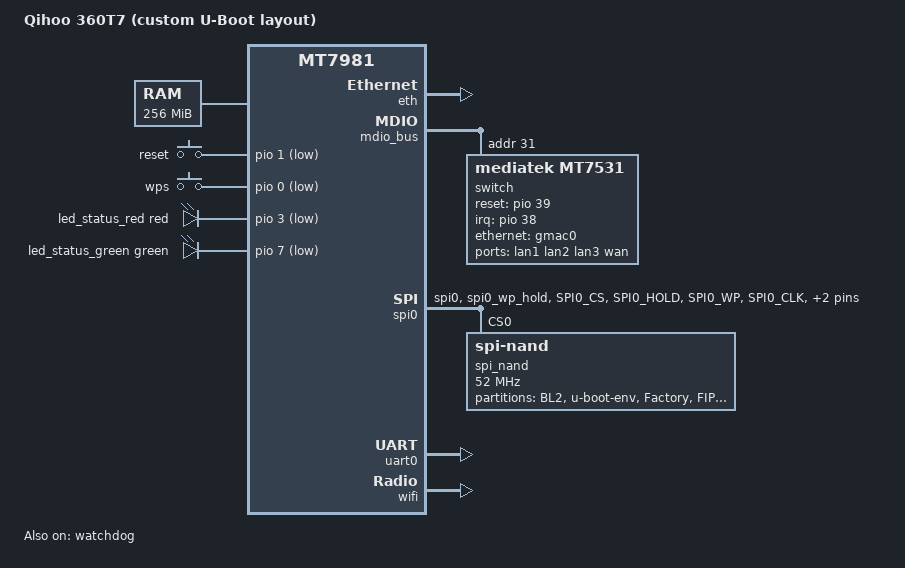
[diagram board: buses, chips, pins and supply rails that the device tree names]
// SPDX-License-Identifier: GPL-2.0-or-later OR MIT
/*
 * Qihoo 360T7 (custom U-Boot layout)
 *
 * openwrt-25.12 port of the 24.10 ubootmod DTS (itself ported from the
 * ImmortalWrt openwrt-23.05 mt7981b-qihoo-360t7-ubootmod.dts). The vendor
 * "unbrickable" U-Boot (kept in the "FIP" partition) boots a FIT image
 * from the "kernel" UBI volume and keeps its environment in the
 * "u-boot-env" MTD partition, so this variant keeps the classic
 * kernel/rootfs/rootfs_data UBI layout and the stock partition table
 * (stock-config / stock-factory / stock-log).
 *
 * 25.12 notes:
 *  - base dtsi renamed mt7981.dtsi -> mt7981b.dtsi (generated by kernel
 *    patch 117-complete-mt7981b-dtsi.patch)
 *  - memory node follows the 25.12 "memory@40000000" convention
 *
 * Copyright (C) 2023 Tianling Shen <cnsztl@immortalwrt.org>
 */

/dts-v1/;
#include <dt-bindings/gpio/gpio.h>
#include <dt-bindings/input/input.h>
#include <dt-bindings/leds/common.h>
#include <dt-bindings/pinctrl/mt65xx.h>

#include "mt7981b.dtsi"

/ {
	model = "Qihoo 360T7 (custom U-Boot layout)";
	compatible = "qihoo,360t7-ubootmod", "mediatek,mt7981";

	aliases {
		led-boot = &led_status_red;
		led-failsafe = &led_status_red;
		led-running = &led_status_green;
		led-upgrade = &led_status_green;
		serial0 = &uart0;
	};

	chosen {
		/* The vendor U-Boot environment carries the bootargs;
		 * do not force the OpenWrt U-Boot layout's
		 * "root=/dev/fit0" here.
		 */
		stdout-path = "serial0:115200n8";
	};

	memory@40000000 {
		reg = <0 0x40000000 0 0x10000000>;
		device_type = "memory";
	};

	gpio-keys {
		compatible = "gpio-keys";

		button-reset {
			label = "reset";
			linux,code = <KEY_RESTART>;
			gpios = <&pio 1 GPIO_ACTIVE_LOW>;
		};

		button-wps {
			label = "wps";
			linux,code = <KEY_WPS_BUTTON>;
			gpios = <&pio 0 GPIO_ACTIVE_LOW>;
		};
	};

	gpio-leds {
		compatible = "gpio-leds";

		led_status_red: red {
			function = LED_FUNCTION_STATUS;
			color = <LED_COLOR_ID_RED>;
			gpios = <&pio 3 GPIO_ACTIVE_LOW>;
		};

		led_status_green: green {
			function = LED_FUNCTION_STATUS;
			color = <LED_COLOR_ID_GREEN>;
			gpios = <&pio 7 GPIO_ACTIVE_LOW>;
		};
	};
};

&eth {
	status = "okay";

	gmac0: mac@0 {
		compatible = "mediatek,eth-mac";
		reg = <0>;
		phy-mode = "2500base-x";

		nvmem-cells = <&macaddr_factory_14 0>;
		nvmem-cell-names = "mac-address";

		fixed-link {
			speed = <2500>;
			full-duplex;
			pause;
		};
	};
};

&mdio_bus {
	switch: switch@1f {
		compatible = "mediatek,mt7531";
		reg = <31>;
		reset-gpios = <&pio 39 GPIO_ACTIVE_HIGH>;
		interrupt-controller;
		#interrupt-cells = <1>;
		interrupt-parent = <&pio>;
		interrupts = <38 IRQ_TYPE_LEVEL_HIGH>;
	};
};

&spi0 {
	pinctrl-names = "default";
	pinctrl-0 = <&spi0_flash_pins>;
	status = "okay";

	spi_nand@0 {
		#address-cells = <1>;
		#size-cells = <1>;
		compatible = "spi-nand";
		reg = <0>;
		spi-max-frequency = <52000000>;

		spi-cal-enable;
		spi-cal-mode = "read-data";
		spi-cal-datalen = <7>;
		spi-cal-data = /bits/ 8 <0x53 0x50 0x49 0x4e 0x41 0x4e 0x44>;
		spi-cal-addrlen = <5>;
		spi-cal-addr = /bits/ 32 <0x0 0x0 0x0 0x0 0x0>;
		spi-tx-bus-width = <4>;
		spi-rx-bus-width = <4>;
		/* 6.12's MTK_BMT module provides NMBM remapping; the
		 * bmt-max-* tuning properties are kept as in the 23.05
		 * ubootmod DTS.
		 */
		mediatek,nmbm;
		mediatek,bmt-max-ratio = <1>;
		mediatek,bmt-max-reserved-blocks = <64>;

		partitions {
			compatible = "fixed-partitions";
			#address-cells = <1>;
			#size-cells = <1>;

			partition@0 {
				label = "BL2";
				reg = <0x00000 0x100000>;
			};

			partition@100000 {
				label = "u-boot-env";
				reg = <0x100000 0x80000>;
			};

			factory: partition@180000 {
				label = "Factory";
				reg = <0x180000 0x200000>;
			};

			partition@380000 {
				label = "FIP";
				reg = <0x380000 0x200000>;
			};

			ubi: partition@580000 {
				compatible = "linux,ubi";
				label = "ubi";
				reg = <0x580000 0x6c00000>;
			};

			partition@7180000 {
				label = "stock-config";
				reg = <0x7180000 0x100000>;
				read-only;
			};

			partition@7280000 {
				label = "stock-factory";
				reg = <0x7280000 0x80000>;
				read-only;

				compatible = "nvmem-cells";
				nvmem-layout {
					compatible = "fixed-layout";
					#address-cells = <1>;
					#size-cells = <1>;

					macaddr_factory_14: macaddr@14 {
						compatible = "mac-base";
						reg = <0x14 0x11>;
						#nvmem-cell-cells = <1>;
					};
				};
			};

			partition@7300000 {
				label = "stock-log";
				reg = <0x7300000 0x400000>;
				read-only;
			};
		};
	};
};

&switch {
	ports {
		#address-cells = <1>;
		#size-cells = <0>;

		port@0 {
			reg = <0>;
			label = "lan1";
		};

		port@1 {
			reg = <1>;
			label = "lan2";
		};

		port@2 {
			reg = <2>;
			label = "lan3";
		};

		port@3 {
			reg = <3>;
			label = "wan";

			nvmem-cells = <&macaddr_factory_14 1>;
			nvmem-cell-names = "mac-address";
		};

		port@6 {
			reg = <6>;
			ethernet = <&gmac0>;
			phy-mode = "2500base-x";

			fixed-link {
				speed = <2500>;
				full-duplex;
				pause;
			};
		};
	};
};

&pio {
	spi0_flash_pins: spi0-pins {
		mux {
			function = "spi";
			groups = "spi0", "spi0_wp_hold";
		};

		conf-pu {
			pins = "SPI0_CS", "SPI0_HOLD", "SPI0_WP";
			drive-strength = <MTK_DRIVE_8mA>;
			bias-pull-up = <MTK_PUPD_SET_R1R0_11>;
		};

		conf-pd {
			pins = "SPI0_CLK", "SPI0_MOSI", "SPI0_MISO";
			drive-strength = <MTK_DRIVE_8mA>;
			bias-pull-down = <MTK_PUPD_SET_R1R0_11>;
		};
	};
};

&uart0 {
	status = "okay";
};

&watchdog {
	status = "okay";
};

&wifi {
	status = "okay";

	mediatek,mtd-eeprom = <&factory 0x0>;
};
